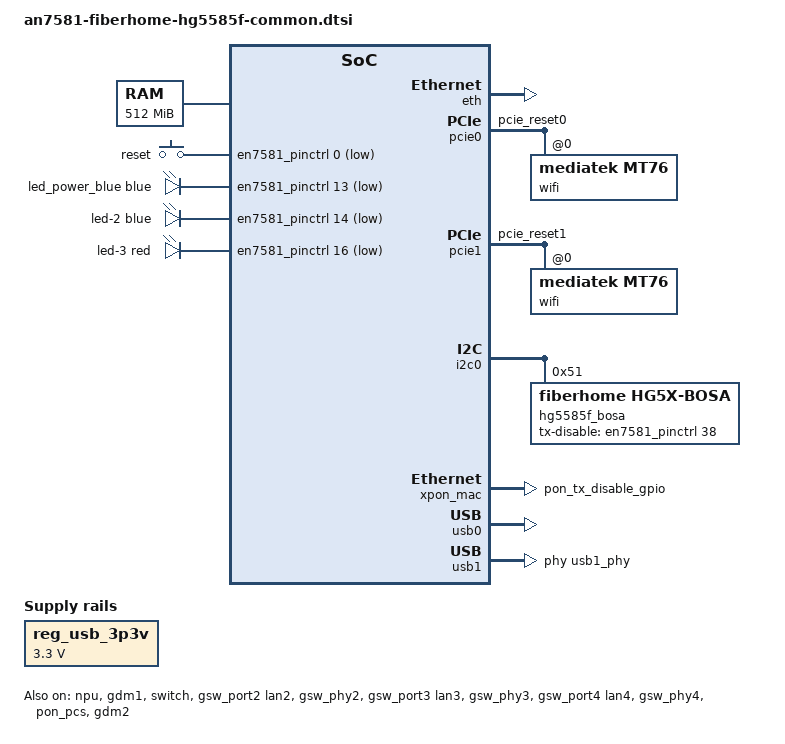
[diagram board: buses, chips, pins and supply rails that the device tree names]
// SPDX-License-Identifier: (GPL-2.0-only OR BSD-2-Clause)

/* Firmware reserves the first 2 MiB of DRAM. */
/memreserve/ 0x80000000 0x200000;

#include <dt-bindings/gpio/gpio.h>
#include <dt-bindings/input/input.h>
#include <dt-bindings/leds/common.h>
#include "an7581.dtsi"
#include "an7581-fiberhome-ubi-parts.dtsi"

/* Board resources shared by the FiberHome HG5585F variants. */

/ {
	aliases {
		/* OpenWrt diag state controls the power LED. */
		led-boot = &led_power_blue;
		led-failsafe = &led_power_blue;
		led-running = &led_power_blue;
		led-upgrade = &led_power_blue;

		serial0 = &uart1;
	};

	chosen {
		/* fitblk locates the FIT-embedded read-only rootfs through this volume. */
		rootdisk = <&ubi_fit>;
		bootargs = "console=ttyS0,115200 earlycon";
		stdout-path = "serial0:115200n8";
	};

	memory@80000000 {
		device_type = "memory";
		reg = <0x0 0x80000000 0x0 0x20000000>;
	};

	reg_usb_3p3v: regulator-usb-3p3v {
		compatible = "regulator-fixed";
		regulator-always-on;
		regulator-boot-on;
		regulator-min-microvolt = <3300000>;
		regulator-max-microvolt = <3300000>;
		regulator-name = "usb-3.3V";
	};

	keys {
		compatible = "gpio-keys";

		key-reset {
			label = "reset";
			linux,code = <KEY_RESTART>;
			/* The reset key is connected to active-low GPIO0. */
			gpios = <&en7581_pinctrl 0 GPIO_ACTIVE_LOW>;
			debounce-interval = <60>;
		};
	};

	leds {
		compatible = "gpio-leds";

		/* The active-low power LED is connected to GPIO13. */
		led_power_blue: led-0 {
			color = <LED_COLOR_ID_BLUE>;
			function = LED_FUNCTION_POWER;
			gpios = <&en7581_pinctrl 13 GPIO_ACTIVE_LOW>;
		};

		/* PON registration maps O1-O3 to fast blink, O4 to slow blink, and O5 on. */
		led-2 {
			color = <LED_COLOR_ID_BLUE>;
			function = LED_FUNCTION_WAN;
			gpios = <&en7581_pinctrl 14 GPIO_ACTIVE_LOW>;
			linux,default-trigger = "pon0-registration";
		};

		/* The LOS LED follows optical signal loss. */
		led-3 {
			color = <LED_COLOR_ID_RED>;
			function = LED_FUNCTION_WAN;
			gpios = <&en7581_pinctrl 16 GPIO_ACTIVE_LOW>;
			linux,default-trigger = "pon0-los";
		};
	};
};

&en7581_pinctrl {
	/* GPIO0 starts at pin 13 on AN7581. */
	gpio-ranges = <&en7581_pinctrl 0 13 50>;

	pon_pins: pon-pins {
		mux {
			/* Leave GPIO38/TX_DISABLE under optical frontend control. */
			function = "pon";
			groups = "pon_tx_disable_gpio";
		};
	};

	mdio_pins: mdio-pins {
		mux {
			function = "mdio";
			groups = "mdio";
		};
	};

	pnand_pins: pnand-pins {
		mux {
			/* Parallel NAND uses GPIO4-7 and GPIO30-42. */
			function = "pnand";
			groups = "pnand";
		};
	};

	pcie0_rst_pins: pcie0-rst-pins {
		conf {
			/* PCIe0 provides the board reset line for MT7916D HIF2. */
			pins = "pcie_reset0";
			drive-open-drain = <1>;
		};
	};

	pcie1_rst_pins: pcie1-rst-pins {
		conf {
			/* The primary MT7916D HIF uses PCIe1. */
			pins = "pcie_reset1";
			drive-open-drain = <1>;
		};
	};
};

&{/soc} {
	/* HG5585F uses an 8-bit TSOP48 parallel NAND. */
	/delete-node/ spi@1fa10000;
};

&npu {
	status = "okay";
};

&eth {
	status = "okay";
};

&gdm1 {
	/* The switch CPU port uses the board base MAC address. */
	nvmem-cells = <&fiberhome_base_mac>;
	nvmem-cell-names = "mac-address";
	status = "okay";
};

&switch {
	pinctrl-names = "default";
	pinctrl-0 = <&mdio_pins>;
	status = "okay";
};

/* Internal PHY2, PHY3, and PHY4 provide three copper ports. */
&gsw_port2 {
	label = "lan2";
	status = "okay";
};

&gsw_phy2 {
	status = "okay";
};

&gsw_port3 {
	label = "lan3";
	status = "okay";
};

&gsw_phy3 {
	status = "okay";
};

&gsw_port4 {
	label = "lan4";
	status = "okay";
};

&gsw_phy4 {
	status = "okay";
};

&fiberhome_factory_nvmem {
	/* The MT7916 EEPROM precedes the shared identity area. */
	wifi_eeprom: eeprom@1000 {
		reg = <0x1000 0x1000>;
	};
};

/*
 * MT7916D enumerates through two PCIe HIFs: 14c3:7906 on PCIe1 is primary,
 * while PCIe0 provides HIF2.
 */
/* The wireless PCIe links negotiate Gen2 when the root ports advertise it. */
&pcie0 {
	status = "okay";
	max-link-speed = <2>;
	pinctrl-names = "default";
	pinctrl-0 = <&pcie0_rst_pins>;

	pcie@0,0 {
		reg = <0x0000 0 0 0 0>;

		wifi@0,0 {
			compatible = "mediatek,mt76";
			reg = <0x0000 0 0 0 0>;
		};
	};
};

&pcie1 {
	status = "okay";
	max-link-speed = <2>;
	pinctrl-names = "default";
	pinctrl-0 = <&pcie1_rst_pins>;

	pcie@0,0 {
		reg = <0x0000 0 0 0 0>;

		wifi@0,0 {
			compatible = "mediatek,mt76";
			reg = <0x0000 0 0 0 0>;
			nvmem-cells = <&wifi_eeprom>;
			nvmem-cell-names = "eeprom";
			airoha,npu = <&npu>;
			airoha,eth = <&eth>;
		};
	};
};

&i2c0 {
	status = "okay";

	hg5585f_bosa: optical-front-end@51 {
		/* Board data identifies either GN or UX compatible optical frontends. */
		compatible = "fiberhome,hg5x-bosa", "airoha,paged-bosa";
		reg = <0x51>;
		fiberhome,ben-active-high;
		nvmem-cells = <&pon_calibration>;
		nvmem-cell-names = "calibration";
		tx-disable-gpios = <&en7581_pinctrl 38 GPIO_ACTIVE_HIGH>;
		status = "okay";
	};
};

&pon_pcs {
	status = "okay";
};

&xpon_mac {
	pinctrl-names = "default";
	pinctrl-0 = <&pon_pins>;
	optical-front-end = <&hg5585f_bosa>;
	data-path = <&gdm2>;
	nvmem-cells = <&fiberhome_pon_serial>;
	nvmem-cell-names = "pon-serial";
	status = "okay";
};

&gdm2 {
	nvmem-cells = <&fiberhome_base_mac>;
	nvmem-cell-names = "mac-address";
	airoha,pon-data-path;
	status = "okay";
};

&usb0 {
	/* The USB3 port combines a USB2 companion with the SuperSpeed lane. */
	status = "okay";
	vusb33-supply = <&reg_usb_3p3v>;
};

&usb1 {
	/* The second port uses the USB2 PHY. */
	status = "okay";
	mediatek,u3p-dis-msk = <0x1>;
	phys = <&usb1_phy PHY_TYPE_USB2>;
	vusb33-supply = <&reg_usb_3p3v>;
};
